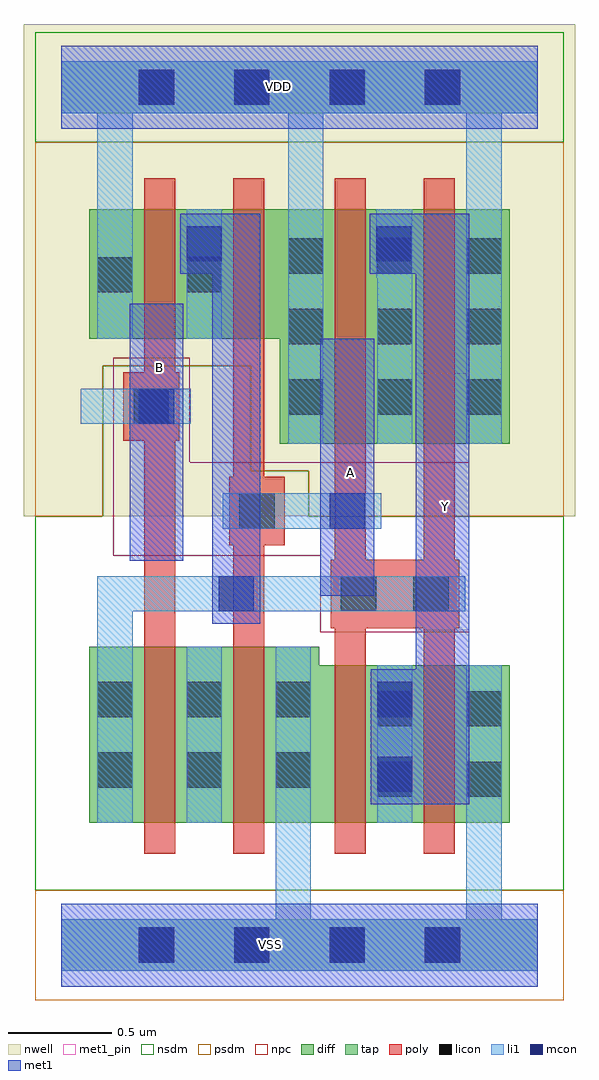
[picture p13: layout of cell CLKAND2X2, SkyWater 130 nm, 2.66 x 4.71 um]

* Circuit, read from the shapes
.subckt CLKAND2X2 A B VDD VSS Y
XM1 n1 B n2 VSS sky130_fd_pr__nfet_01v8 w=0.85 l=0.15
XM2 VSS A n1 VSS sky130_fd_pr__nfet_01v8 w=0.85 l=0.15
XM3 Y n2 VSS VSS sky130_fd_pr__nfet_01v8 w=0.76 l=0.15 m=2
XM4 n2 B VDD VDD sky130_fd_pr__pfet_01v8 w=0.625 l=0.15
XM5 VDD A n2 VDD sky130_fd_pr__pfet_01v8 w=0.625 l=0.15
XM6 Y n2 VDD VDD sky130_fd_pr__pfet_01v8 w=1.13 l=0.15 m=2
.ends

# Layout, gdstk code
from math import pi, radians
import gdstk
lib = gdstk.Library(unit=1e-6, precision=1e-09)
def R(c, l, rs):  # rectangles x0, y0, x1, y1
    for r in rs: c.add(gdstk.rectangle(r[:2], r[2:], *l))
def A(c, l, x, y, w, h, nx, ny, dx, dy):  # array of equal rectangles
    R(c, l, [(x+i*dx, y+j*dy, x+i*dx+w, y+j*dy+h) for i in range(nx) for j in range(ny)])
def P(c, l, *ps):  # polygons
    for p in ps: c.add(gdstk.Polygon(p, *l))
nwell = (64, 20)
diff = (65, 20)
tap = (65, 44)
poly = (66, 20)
licon = (66, 44)
li1 = (67, 20)
mcon = (67, 44)
met1_pin = (68, 16)
met1 = (68, 20)
nsdm = (93, 44)
psdm = (94, 20)
npc = (95, 20)

pyl1con_c_cdns_751554744 = lib.new_cell('PYL1CON_C_CDNS_751554744751')
R(pyl1con_c_cdns_751554744, poly, [(-0.135,-0.165,0.135,0.165)])
R(pyl1con_c_cdns_751554744, licon, [(-0.085,-0.085,0.085,0.085)])
R(pyl1con_c_cdns_751554744, npc, [(-0.185,-0.185,0.185,0.185)])

licondiff_c_cdns_7515547 = lib.new_cell('LICONDIFF_C_CDNS_751554744755')
R(licondiff_c_cdns_7515547, diff, [(-0.125,-0.145,0.125,0.145)])
R(licondiff_c_cdns_7515547, licon, [(-0.085,-0.085,0.085,0.085), (-0.085,-0.085,0.085,0.085)])

clkand2x2 = lib.new_cell('CLKAND2X2')
R(clkand2x2, nwell, [(-0.18,2.07,2.48,4.445)])
P(clkand2x2, diff, [(2.165,1.35),(1.245,1.35),(1.245,1.44),(0.135,1.44),(0.135,0.59),(2.165,0.59)],
  [(2.165,3.55),(0.135,3.55),(0.135,2.925),(1.055,2.925),(1.055,2.42),(2.165,2.42)])
R(clkand2x2, poly, [(0.4,0.44,0.55,3.7), (0.83,0.44,0.98,3.7)])
P(clkand2x2, poly, [(1.92,1.86),(1.9,1.86),(1.9,3.7),(1.75,3.7),(1.75,1.86),(1.47,1.86),(1.47,3.7),(1.32,3.7),(1.32,1.86),(1.3,1.86),(1.3,1.53),(1.32,1.53),(1.32,0.44),(1.47,0.44),(1.47,1.53),(1.75,1.53),(1.75,0.44),(1.9,0.44),(1.9,1.53),(1.92,1.53)])
A(clkand2x2, licon, 0.375, -0.085, 0.17, 0.17, 4, 2, 0.46, 4.14)
A(clkand2x2, licon, 1.095, 2.56, 0.17, 0.17, 3, 3, 0.43, 0.34)
R(clkand2x2, licon, [(1.525,0.715,1.695,0.885), (1.955,0.715,2.125,0.885), (0.175,0.76,0.345,0.93), (1.035,0.76,1.205,0.93), (1.525,1.055,1.695,1.225), (1.955,1.055,2.125,1.225), (0.175,1.1,0.345,1.27), (1.035,1.1,1.205,1.27), (0.175,3.15,0.345,3.32), (0.605,3.15,0.775,3.32)])
R(clkand2x2, li1, [(1.525,0.59,1.695,1.35), (1.525,0.66,1.695,1.35), (0.68,1.61,1.01,1.78), (1.215,2.01,1.545,2.18), (1.525,2.42,1.695,3.55), (0.295,2.515,0.625,2.685), (0.605,2.925,0.775,3.55), (0.605,3.22,0.775,3.55), (1.52,3.22,1.69,3.55)])
P(clkand2x2, li1, [(1.95,1.78),(0.175,1.78),(0.175,0.59),(0.345,0.59),(0.345,1.61),(1.95,1.61)],
  [(2.3,4.265),(0,4.265),(0,4.015),(0.175,4.015),(0.175,2.925),(0.345,2.925),(0.345,4.015),(1.095,4.015),(1.095,2.42),(1.265,2.42),(1.265,4.015),(1.955,4.015),(1.955,2.42),(2.125,2.42),(2.125,4.015),(2.3,4.015)],
  [(2.3,0.125),(2.125,0.125),(2.125,1.35),(1.955,1.35),(1.955,0.125),(1.205,0.125),(1.205,1.44),(1.035,1.44),(1.035,0.125),(0,0.125),(0,-0.125),(2.3,-0.125)])
A(clkand2x2, mcon, 0.375, -0.085, 0.17, 0.17, 4, 2, 0.46, 4.14)
R(clkand2x2, mcon, [(1.525,0.74,1.695,0.91), (1.525,1.1,1.695,1.27), (0.76,1.61,0.93,1.78), (1.295,2.01,1.465,2.18), (0.375,2.515,0.545,2.685), (0.605,3.3,0.775,3.47), (1.52,3.3,1.69,3.47)])
R(clkand2x2, met1_pin, [(1.71,1.52,1.97,2.76), (1.25,1.685,1.51,2.925), (0.33,1.855,0.59,3.095)])
R(clkand2x2, met1, [(1.495,0.68,1.725,1.33), (0.73,1.55,0.96,1.84), (1.265,1.95,1.495,2.24), (0.345,2.455,0.575,2.745), (0.575,3.24,0.805,3.53), (1.49,3.24,1.72,3.53)])
R(clkand2x2, nsdm, [(-0.125,3.875,2.425,4.405)])
P(clkand2x2, nsdm, [(2.425,2.07),(1.195,2.07),(1.195,2.29),(0.915,2.29),(0.915,2.795),(0.2,2.795),(0.2,2.07),(-0.125,2.07),(-0.125,0.265),(2.425,0.265)])
R(clkand2x2, psdm, [(-0.125,-0.265,2.425,0.265)])
P(clkand2x2, psdm, [(2.425,3.875),(-0.125,3.875),(-0.125,2.07),(0.2,2.07),(0.2,2.795),(0.915,2.795),(0.915,2.29),(1.195,2.29),(1.195,2.07),(2.425,2.07)])
P(clkand2x2, npc, [(1.97,2.33),(0.62,2.33),(0.62,2.835),(0.25,2.835),(0.25,1.88),(1.25,1.88),(1.25,1.51),(1.97,1.51)])
clkand2x2.add(gdstk.FlexPath([(0,0),(2.3,0)], 0.4, ends="flush", simple_path=True, layer=68, datatype=16))  # met1_pin
clkand2x2.add(gdstk.FlexPath([(0,4.14),(2.3,4.14)], 0.4, ends="flush", simple_path=True, layer=68, datatype=16))  # met1_pin
clkand2x2.add(gdstk.FlexPath([(0,0),(2.3,0)], 0.4, ends="flush", simple_path=True, layer=68, datatype=20))  # met1
clkand2x2.add(gdstk.FlexPath([(1.38,1.685),(1.38,2.925)], 0.26, ends="flush", simple_path=True, layer=68, datatype=20))  # met1
clkand2x2.add(gdstk.FlexPath([(1.84,0.68),(1.84,3.53)], 0.26, ends="flush", simple_path=True, layer=68, datatype=20))  # met1
clkand2x2.add(gdstk.FlexPath([(0.845,1.55),(0.845,3.53)], 0.23, ends="flush", simple_path=True, layer=68, datatype=20))  # met1
clkand2x2.add(gdstk.FlexPath([(0.46,1.855),(0.46,3.095)], 0.26, ends="flush", simple_path=True, layer=68, datatype=20))  # met1
clkand2x2.add(gdstk.FlexPath([(0,4.14),(2.3,4.14)], 0.4, ends="flush", simple_path=True, layer=68, datatype=20))  # met1
clkand2x2.add(gdstk.FlexPath([(0.69,0.59),(0.69,1.44)], 0.17, ends="flush", simple_path=True, layer=67, datatype=20))  # li1
clkand2x2.add(gdstk.FlexPath([(0.095,2.6),(0.6,2.6)], 0.17, ends="flush", simple_path=True, layer=67, datatype=20))  # li1
clkand2x2.add(gdstk.FlexPath([(0.78,2.095),(1.315,2.095)], 0.17, ends="flush", simple_path=True, layer=67, datatype=20))  # li1
clkand2x2.add(gdstk.FlexPath([(0,4.14),(2.3,4.14)], 0.25, ends="flush", simple_path=True, layer=65, datatype=44))  # tap
clkand2x2.add(gdstk.FlexPath([(0,0),(2.3,0)], 0.25, ends="flush", simple_path=True, layer=65, datatype=44))  # tap
clkand2x2.add(gdstk.Reference(pyl1con_c_cdns_751554744, (1.435,1.695), rotation=pi, x_reflection=True))
clkand2x2.add(gdstk.Reference(pyl1con_c_cdns_751554744, (0.435,2.6), rotation=pi, x_reflection=True))
clkand2x2.add(gdstk.Reference(pyl1con_c_cdns_751554744, (0.945,2.095), rotation=pi, x_reflection=True))
clkand2x2.add(gdstk.Reference(pyl1con_c_cdns_751554744, (1.785,1.695), rotation=pi, x_reflection=True))
clkand2x2.add(gdstk.Reference(licondiff_c_cdns_7515547, (0.69,0.845)))
clkand2x2.add(gdstk.Reference(licondiff_c_cdns_7515547, (0.69,1.185)))
clkand2x2.add(gdstk.Label('A', (1.395,2.28), layer=68, texttype=5))
clkand2x2.add(gdstk.Label('B', (0.475,2.785), layer=68, texttype=5))
clkand2x2.add(gdstk.Label('Y', (1.855,2.115), layer=68, texttype=5))
clkand2x2.add(gdstk.Label('VSS', (1.01,0.005), layer=68, texttype=5))
clkand2x2.add(gdstk.Label('VDD', (1.05,4.145), layer=68, texttype=5))

lib.write_gds('CLKAND2X2.gds')
